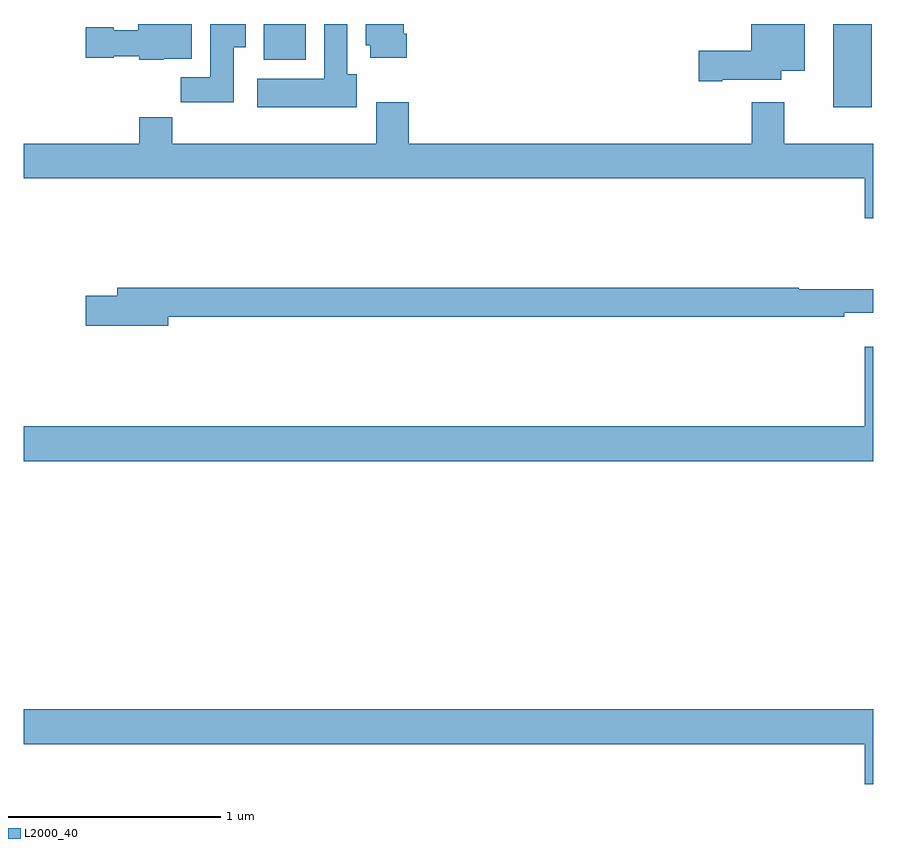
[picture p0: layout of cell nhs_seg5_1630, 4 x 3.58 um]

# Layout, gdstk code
import gdstk
lib = gdstk.Library(unit=1e-6, precision=1e-09)
def R(c, l, rs):  # rectangles x0, y0, x1, y1
    for r in rs: c.add(gdstk.rectangle(r[:2], r[2:], *l))
def P(c, l, *ps):  # polygons
    for p in ps: c.add(gdstk.Polygon(p, *l))
L2000_40 = (2000, 40)

nhs_seg5_1630 = lib.new_cell('nhs_seg5_1630')
R(nhs_seg5_1630, L2000_40, [(212.813,878.408,212.992,878.799), (210.131,878.63,210.328,878.799)])
P(nhs_seg5_1630, L2000_40, [(212.29,878.537),(212.566,878.537),(212.566,878.579),(212.677,878.579),(212.677,878.799),(212.426,878.799),(212.426,878.672),(212.178,878.672),(212.178,878.53),(212.29,878.53)],
  [(210.568,878.562),(210.523,878.562),(210.523,878.799),(210.416,878.799),(210.416,878.542),(210.099,878.542),(210.099,878.408),(210.568,878.408)],
  [(210.803,878.752),(210.79,878.752),(210.79,878.799),(210.611,878.799),(210.611,878.7),(210.632,878.7),(210.632,878.64),(210.803,878.64)],
  [(209.658,878.636),(209.791,878.636),(209.791,878.799),(209.54,878.799),(209.54,878.77),(209.424,878.77),(209.424,878.783),(209.292,878.783),(209.292,878.641),(209.424,878.641),(209.424,878.648),(209.544,878.648),(209.544,878.63),(209.658,878.63)],
  [(209.989,878.689),(210.046,878.689),(210.046,878.799),(209.879,878.799),(209.879,878.548),(209.74,878.548),(209.74,878.43),(209.989,878.43)],
  [(213,878.236),(212.581,878.236),(212.581,878.431),(212.429,878.431),(212.429,878.236),(210.812,878.236),(210.812,878.431),(210.659,878.431),(210.659,878.236),(209.699,878.236),(209.699,878.36),(209.543,878.36),(209.543,878.236),(209,878.236),(209,878.072),(212.96,878.072),(212.96,877.884),(213,877.884)],
  [(209.68,877.42),(212.864,877.42),(212.864,877.439),(213,877.439),(213,877.549),(212.65,877.549),(212.65,877.556),(209.441,877.556),(209.441,877.52),(209.292,877.52),(209.292,877.378),(209.68,877.378)],
  [(213,877.279),(212.96,877.279),(212.96,876.904),(209,876.904),(209,876.74),(213,876.74)],
  [(213,875.572),(209,875.572),(209,875.408),(212.96,875.408),(212.96,875.22),(213,875.22)])

lib.write_gds('nhs_seg5_1630.gds')
